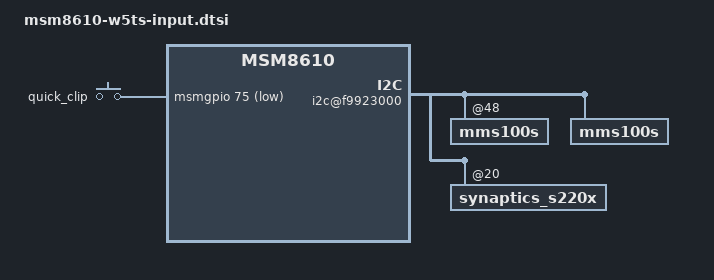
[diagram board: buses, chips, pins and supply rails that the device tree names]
/* Copyright (c) 2012, Code Aurora Forum. All rights reserved.
 *
 * This program is free software; you can redistribute it and/or modify
 * it under the terms of the GNU General Public License version 2 and
 * only version 2 as published by the Free Software Foundation.
 *
 * This program is distributed in the hope that it will be useful,
 * but WITHOUT ANY WARRANTY; without even the implied warranty of
 * MERCHANTABILITY or FITNESS FOR A PARTICULAR PURPOSE.  See the
 * GNU General Public License for more details.
 */

&soc {
	i2c@f9923000{
		mms100s@48 {
			melfas,product = "I4S45A";
			melfas,max-x = <480>;
			melfas,max-y = <800>;
                        melfas,use_vdd_i2c = <1>;
			melfas,gpio-vdd-en = <62>;
			melfas,key-map = <158 172 139 249>;
			melfas,fw-image-name = "melfas/w5ts_global_com/w5ts_global_com_rev_b_v1.04.mfsb";
                        revision = "rev_a...rev_b";
			status = "ok";
		};
		mms100s@48_rev_c {
			melfas,product = "I4S45A";
			melfas,max-x = <480>;
			melfas,max-y = <800>;
                        melfas,use_vdd_i2c = <1>;
			melfas,gpio-vdd-en = <82>;
			melfas,key-map = <158 172 139 249>;
			melfas,fw-image-name = "melfas/w5ts_global_com/w5ts_global_com_rev_b_v1.04.mfsb";
                        revision = "rev_c";
			status = "ok";
		};
		synaptics_red@20 {
			status = "disable";
			revision = "rev_d...";
			synaptics,button-map = <158 172 139 249>;
			synaptics,i2c-pull-up = <0>;
			synaptics,power-down  = <1>;
			synaptics,gpio_vdd_en  = <82>;
		};
		
		synaptics_s220x@20 {
			status = "ok";
			revision = "rev_d...";
			synaptics,fw_version_info = <0x34 0x04 0x51>;
			synaptics,fw_image = "synaptics/w5ts_global_com/PLG316-V1.13-PR1600582-DS4.3.5.1.16_3404518D.img";
                        synaptics,panel_spec = "synaptics/w5ts_global_com/w5ts_global_com_limit.txt";
                        synaptics,global_access_pixel = <10>;
			lge,knock_on_type = <1>;

			synaptics,platform_data	{
				number_of_button = <4>;
				button_name = [9e ac 8b f9];
				x_max = <960>;
				y_max = <1600>;
				lcd_x = <480>;
				lcd_y = <800>;
				use_vio_regulator = <1>;
				gpio_vdd_en = <82>;
			    	/*maker_id  disable(0), enable(1)*/
				maker_id = <0>;
				maker_id_gpio = <76>;
				palm_detect_mode = <1>;
				ghost_detection_enable = <0>;
				ghost_detection_value = <200 5 4 6 5 5 10 500 100 6 5>;
			};				
		};
	};
	gpio_keys {
		quick_clip {
			label = "quick_clip";
			gpios = <&msmgpio 75 0x1>;
			linux,input-type = <1>;
			linux,code = <250>;
			gpio-key,wakeup;
			debounce-interval = <15>;
		};
	};
};
